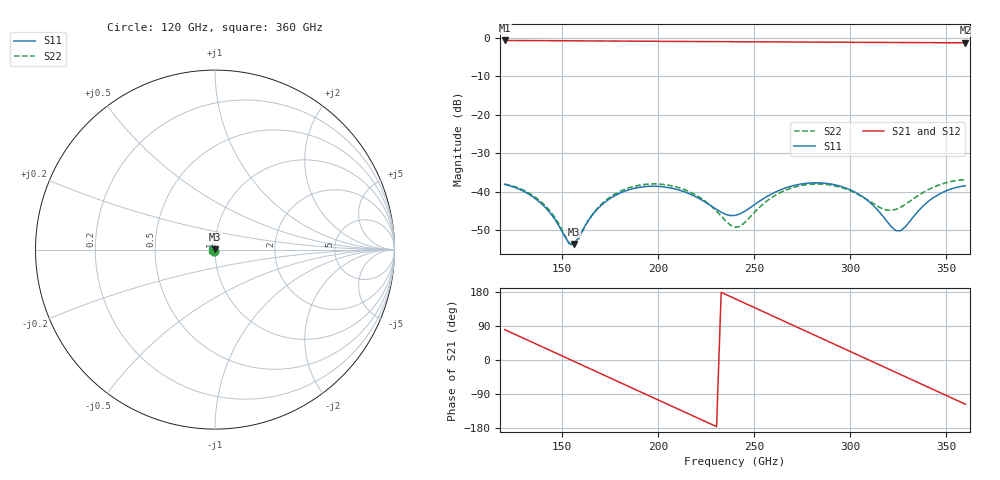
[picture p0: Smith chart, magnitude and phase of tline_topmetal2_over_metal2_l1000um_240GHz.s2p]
#  GHZ S DB R 50
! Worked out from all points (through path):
!   101 points, 120 GHz to 360 GHz, reference 50 ohm
!   highest |S21| = -0.64 dB at 120 GHz (marker M1); lowest = -1.3 dB at 360 GHz (marker M2)
!   group delay of S21, straight-line fit = 6.45 ps
!   lowest |S11| = -53.6 dB at 156 GHz (marker M3), VSWR 1.00, Z = 50.2 + j0.135 ohm
!   |S11| at or under -10 dB: start of sweep to end of sweep
!   |S22| runs from -54.1 to -36.8 dB; largest |S21 - S12| = 1e-13
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120  -38.08 -126.8  -0.64 80.3  -0.64 80.3  -37.98 -126.9
139.2  -43.10 172.6  -0.69 35.7  -0.69 35.7  -42.70 174.1
153.6  -53.38 76.1  -0.72 2.3  -0.72 2.3  -53.45 83.6
156  -53.59 40.1  -0.73 -3.3  -0.73 -3.3  -54.13 45.5
160.8  -49.75 -12.9  -0.74 -14.5  -0.74 -14.5  -50.01 -12.2
170.4  -43.47 -62.1  -0.77 -36.8  -0.77 -36.8  -43.22 -61.2
182.4  -39.85 -104.1  -0.81 -64.6  -0.81 -64.6  -39.38 -101.6
192  -38.70 -135.1  -0.84 -86.9  -0.84 -86.9  -38.13 -131.2
201.6  -38.64 -166.1  -0.87 -109.2  -0.87 -109.2  -38.03 -160.4
220.8  -41.61 125.4  -0.92 -153.7  -0.92 -153.7  -41.17 137.4
230.4  -44.58 78.2  -0.94 -175.9  -0.94 -175.9  -45.04 96.1
240  -46.15 10.2  -0.96 161.8  -0.96 161.8  -49.23 22.0
261.6  -39.94 -105.1  -1.02 111.7  -1.02 111.7  -40.72 -110.6
271.2  -38.30 -138.5  -1.04 89.4  -1.04 89.4  -38.74 -143.1
280.8  -37.67 -169.3  -1.07 67.1  -1.07 67.1  -37.98 -173.8
302.4  -40.05 121.6  -1.12 17.0  -1.12 17.0  -40.25 111.8
312  -43.53 84.8  -1.15 -5.3  -1.15 -5.3  -43.05 66.4
321.6  -49.18 23.1  -1.17 -27.6  -1.17 -27.6  -44.83 0.3
326.4  -50.08 -29.7  -1.18 -38.7  -1.18 -38.7  -43.97 -34.4
340.8  -42.46 -124.5  -1.21 -72.2  -1.21 -72.2  -39.42 -106.1
350.4  -39.66 -158.7  -1.23 -94.5  -1.23 -94.5  -37.57 -139.3
360  -38.42 170.7  -1.26 -116.8  -1.26 -116.8  -36.83 -168.6
